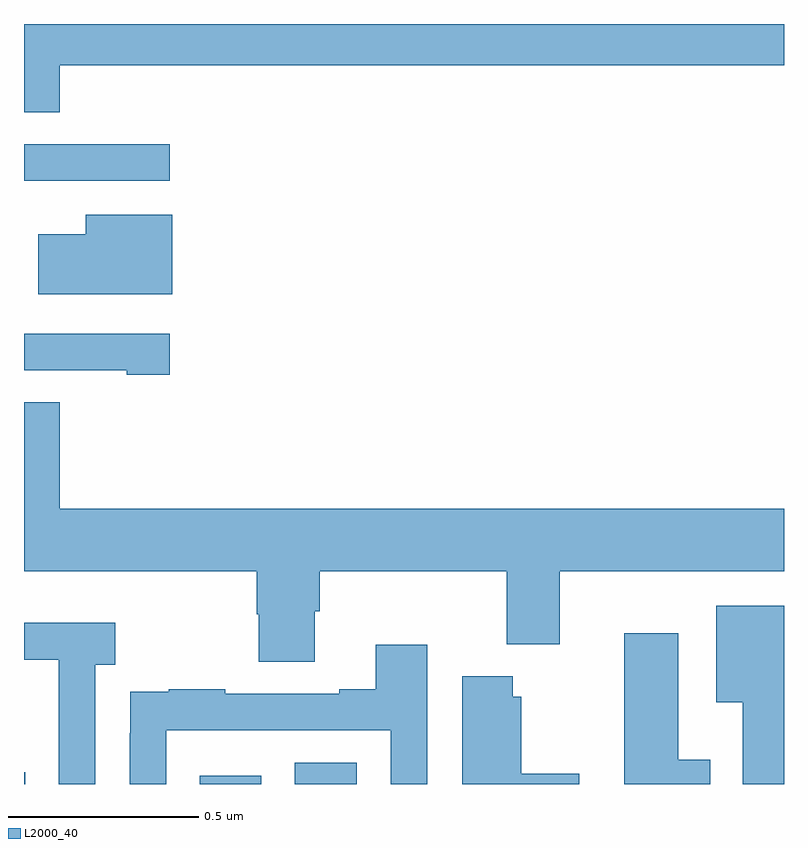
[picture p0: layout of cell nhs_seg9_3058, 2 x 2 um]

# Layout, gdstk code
import gdstk
lib = gdstk.Library(unit=1e-6, precision=1e-09)
def R(c, l, rs):  # rectangles x0, y0, x1, y1
    for r in rs: c.add(gdstk.rectangle(r[:2], r[2:], *l))
def P(c, l, *ps):  # polygons
    for p in ps: c.add(gdstk.Polygon(p, *l))
L2000_40 = (2000, 40)

nhs_seg9_3058 = lib.new_cell('nhs_seg9_3058')
R(nhs_seg9_3058, L2000_40, [(148,1222.5,148.003,1222.531), (148.463,1222.5,148.624,1222.522), (148.712,1222.5,148.876,1222.556), (148,1224.087,148.384,1224.183)])
P(nhs_seg9_3058, L2000_40, [(148.094,1224.392),(150,1224.392),(150,1224.5),(148,1224.5),(148,1224.268),(148.094,1224.268)],
  [(148.39,1223.998),(148.163,1223.998),(148.163,1223.947),(148.038,1223.947),(148.038,1223.789),(148.39,1223.789)],
  [(148.384,1223.685),(148,1223.685),(148,1223.589),(148.271,1223.589),(148.271,1223.577),(148.384,1223.577)],
  [(148.765,1222.954),(148.778,1222.954),(148.778,1223.06),(149.27,1223.06),(149.27,1222.868),(149.41,1222.868),(149.41,1223.06),(150,1223.06),(150,1223.224),(148.094,1223.224),(148.094,1223.504),(148,1223.504),(148,1223.06),(148.613,1223.06),(148.613,1222.947),(148.618,1222.947),(148.618,1222.822),(148.765,1222.822)],
  [(150,1222.969),(149.822,1222.969),(149.822,1222.715),(149.891,1222.715),(149.891,1222.5),(150,1222.5)],
  [(148.188,1222.814),(148.24,1222.814),(148.24,1222.924),(148,1222.924),(148,1222.827),(148.091,1222.827),(148.091,1222.627),(148.092,1222.627),(148.092,1222.5),(148.188,1222.5)],
  [(149.806,1222.564),(149.722,1222.564),(149.722,1222.897),(149.579,1222.897),(149.579,1222.5),(149.806,1222.5)],
  [(148.374,1222.641),(148.965,1222.641),(148.965,1222.5),(149.061,1222.5),(149.061,1222.867),(148.925,1222.867),(148.925,1222.75),(148.829,1222.75),(148.829,1222.737),(148.529,1222.737),(148.529,1222.75),(148.381,1222.75),(148.381,1222.743),(148.279,1222.743),(148.279,1222.634),(148.278,1222.634),(148.278,1222.5),(148.374,1222.5)],
  [(149.461,1222.527),(149.308,1222.527),(149.308,1222.729),(149.286,1222.729),(149.286,1222.783),(149.153,1222.783),(149.153,1222.5),(149.461,1222.5)])

lib.write_gds('nhs_seg9_3058.gds')
